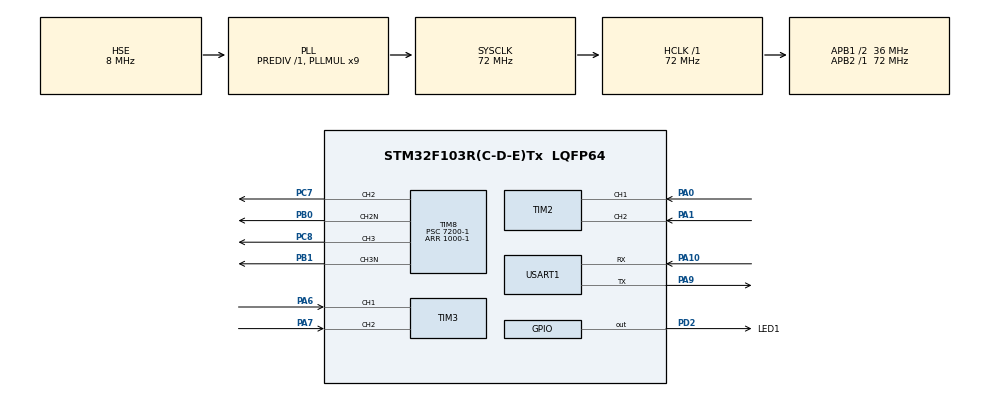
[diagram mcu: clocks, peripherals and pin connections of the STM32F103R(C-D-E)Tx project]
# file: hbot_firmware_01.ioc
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Dma.Request0=USART1_RX
Dma.Request1=USART1_TX
Dma.USART1_RX.0.Direction=DMA_PERIPH_TO_MEMORY
Dma.USART1_RX.0.Instance=DMA1_Channel5
Dma.USART1_RX.0.MemDataAlignment=DMA_MDATAALIGN_BYTE
Dma.USART1_RX.0.MemInc=DMA_MINC_ENABLE
Dma.USART1_RX.0.Mode=DMA_NORMAL
Dma.USART1_RX.0.PeriphDataAlignment=DMA_PDATAALIGN_BYTE
Dma.USART1_RX.0.PeriphInc=DMA_PINC_DISABLE
Dma.USART1_RX.0.Priority=DMA_PRIORITY_LOW
Dma.USART1_TX.1.Direction=DMA_MEMORY_TO_PERIPH
Dma.USART1_TX.1.Instance=DMA1_Channel4
Dma.USART1_TX.1.MemDataAlignment=DMA_MDATAALIGN_BYTE
Dma.USART1_TX.1.MemInc=DMA_MINC_ENABLE
Dma.USART1_TX.1.Mode=DMA_NORMAL
Dma.USART1_TX.1.PeriphDataAlignment=DMA_PDATAALIGN_BYTE
Dma.USART1_TX.1.PeriphInc=DMA_PINC_DISABLE
Dma.USART1_TX.1.Priority=DMA_PRIORITY_LOW
Mcu.Family=STM32F1
Mcu.Name=STM32F103R(C-D-E)Tx
Mcu.Package=LQFP64
NVIC.DMA1_Channel4_IRQn=true\:0\:0\:false\:false\:true\:false\:true\:true
NVIC.DMA1_Channel5_IRQn=true\:0\:0\:false\:false\:true\:false\:true\:true
NVIC.PriorityGroup=NVIC_PRIORITYGROUP_4
NVIC.TIM4_IRQn=true\:0\:0\:false\:false\:true\:true\:true\:true
NVIC.USART1_IRQn=true\:0\:0\:false\:false\:true\:true\:true\:true
PA0-WKUP.Signal=S_TIM2_CH1_ETR
PA1.Signal=S_TIM2_CH2
PA10.Mode=Asynchronous
PA10.Signal=USART1_RX
PA13.Mode=Serial_Wire
PA13.Signal=SYS_JTMS-SWDIO
PA14.Mode=Serial_Wire
PA14.Signal=SYS_JTCK-SWCLK
PA6.Signal=S_TIM3_CH1
PA7.Signal=S_TIM3_CH2
PA9.Mode=Asynchronous
PA9.Signal=USART1_TX
PB0.Mode=PWM Generation2 CH2 CH2N
PB0.Signal=TIM8_CH2N
PB1.Mode=PWM Generation3 CH3 CH3N
PB1.Signal=TIM8_CH3N
PC7.Signal=S_TIM8_CH2
PC8.Signal=S_TIM8_CH3
PD0-OSC_IN.Mode=HSE-External-Oscillator
PD0-OSC_IN.Signal=RCC_OSC_IN
PD1-OSC_OUT.Mode=HSE-External-Oscillator
PD1-OSC_OUT.Signal=RCC_OSC_OUT
PD2.GPIO_Label=LED1
PD2.Signal=GPIO_Output
ProjectManager.HeapSize=0x200
ProjectManager.StackSize=0x400
ProjectManager.TargetToolchain=STM32CubeIDE
RCC.AHBFreq_Value=72000000
RCC.APB1CLKDivider=RCC_HCLK_DIV2
RCC.APB1Freq_Value=36000000
RCC.APB1TimFreq_Value=72000000
RCC.APB2Freq_Value=72000000
RCC.APB2TimFreq_Value=72000000
RCC.HCLKFreq_Value=72000000
RCC.PLLMUL=RCC_PLL_MUL9
RCC.PLLSourceVirtual=RCC_PLLSOURCE_HSE
RCC.SYSCLKFreq_VALUE=72000000
RCC.SYSCLKSource=RCC_SYSCLKSOURCE_PLLCLK
RCC.USBFreq_Value=72000000
SH.S_TIM2_CH1_ETR.0=TIM2_CH1,Encoder_Interface
SH.S_TIM2_CH2.0=TIM2_CH2,Encoder_Interface
SH.S_TIM3_CH1.0=TIM3_CH1,Encoder_Interface
SH.S_TIM3_CH2.0=TIM3_CH2,Encoder_Interface
SH.S_TIM8_CH2.0=TIM8_CH2,PWM Generation2 CH2 CH2N
SH.S_TIM8_CH3.0=TIM8_CH3,PWM Generation3 CH3 CH3N
TIM4.Period=199
TIM4.Prescaler=7200-1
TIM8.Channel-PWM\ Generation2\ CH2\ CH2N=TIM_CHANNEL_2
TIM8.Channel-PWM\ Generation3\ CH3\ CH3N=TIM_CHANNEL_3
TIM8.Period=1000-1
TIM8.Prescaler=7200-1
USART1.VirtualMode=VM_ASYNC
VP_TIM4_VS_ClockSourceINT.Mode=Internal
VP_TIM8_VS_ClockSourceINT.Mode=Internal
board=custom

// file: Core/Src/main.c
/* USER CODE BEGIN Header */
/**
  ******************************************************************************
  * @file           : main.c
  * @brief          : Main program body
  ******************************************************************************
  * @attention
  *
  * Copyright (c) 2022 STMicroelectronics.
  * All rights reserved.
  *
  * This software is licensed under terms that can be found in the LICENSE file
  * in the root directory of this software component.
  * If no LICENSE file comes with this software, it is provided AS-IS.
  *
  ******************************************************************************
  */
/* USER CODE END Header */
#include "main.h"

/* USER CODE BEGIN Includes */
#include "stdio.h"
#include "stdlib.h"
#include "string.h"
/* USER CODE END Includes */

/* USER CODE BEGIN PD */
#define RecBuff_SIZE		15
#define MainBuff_SIZE 		12
#define TranBuff_SIZE		50

/* USER CODE END PD */

 TIM_HandleTypeDef htim2;
TIM_HandleTypeDef htim3;
TIM_HandleTypeDef htim4;
TIM_HandleTypeDef htim8;

UART_HandleTypeDef huart1;
DMA_HandleTypeDef hdma_usart1_rx;
DMA_HandleTypeDef hdma_usart1_tx;

/* USER CODE BEGIN PV */
uint8_t RecBuff[RecBuff_SIZE];
uint8_t MainBuff[MainBuff_SIZE];
uint8_t TranBuff[TranBuff_SIZE];
size_t recSize;

int16_t velLeft;
int16_t velRight;

uint32_t enc_pulse1 = 0, enc_pulse2 = 0;
int64_t last_pulse1=0, last_pulse2=0;
uint32_t tran_cnt = 0, rec_cnt = 0;
float real_rpm1=0, real_rpm2 =0;

int32_t kp, ki, kd; // kx * 1000
Status_Code status_code_;

uint16_t pwmLeft = 0;
uint16_t pwmRight = 0;
/* USER CODE END PV */

void SystemClock_Config(void);
static void MX_GPIO_Init(void);
static void MX_TIM2_Init(void);
static void MX_TIM3_Init(void);
static void MX_DMA_Init(void);
static void MX_USART1_UART_Init(void);
static void MX_TIM8_Init(void);
static void MX_TIM4_Init(void);
/* USER CODE BEGIN PFP */
//void RxRx
void HAL_UARTEx_RxEventCallback(UART_HandleTypeDef *huart, uint16_t Size);
void processRecCmd(size_t len);
void setRpm(int16_t left, int16_t right);
/* USER CODE END PFP */

/* USER CODE BEGIN 0 */
void HAL_UARTEx_RxEventCallback(UART_HandleTypeDef *huart, uint16_t Size) {
  if(huart->Instance == USART1){
	for(size_t i = 0; i<Size-1; i++) {
		if(RecBuff[i] == 0x2A){
			memcpy(MainBuff, &RecBuff[i], Size-i);
			processRecCmd(Size-i);
			break;
		}
	}

	HAL_UARTEx_ReceiveToIdle_DMA(&huart1, RecBuff, RecBuff_SIZE);
	  __HAL_DMA_DISABLE_IT(&hdma_usart1_rx, DMA_IT_HT);
  }

}

void processRecCmd(size_t len){
	if(MainBuff[0] != 0x2A || MainBuff[len-1] != 0x3E || MainBuff[1] != len){
		status_code_ = STATUS_CMD_FORMAT_WRONG;
		responseCmd(CMD_STATUS);
		return;
	}

	uint8_t cmd_count_index = 2;
	uint32_t curr_rec_count = (uint32_t)MainBuff[cmd_count_index]   << 24
							| (uint32_t)MainBuff[cmd_count_index+1] << 16
							| (uint32_t)MainBuff[cmd_count_index+2] << 8
							| MainBuff[cmd_count_index+3];
	if(curr_rec_count == rec_cnt) return;
	rec_cnt = curr_rec_count;
	uint8_t cmd_type_index = cmd_count_index + 4;
	uint8_t cmd_type = MainBuff[cmd_type_index];
	uint8_t params_index = cmd_type_index + 1;
	switch (cmd_type) {
		case 0x50: // Set rpm
			velLeft = (int)MainBuff[params_index] << 8 | MainBuff[params_index+1];
			velRight = (int)MainBuff[params_index+2] << 8 | MainBuff[params_index+3];
		  setRpm(velLeft, velRight);
		  responseCmd(CMD_SET_VEL);
		  break;
		case 0x55: // Set Kp
		  // memcpy(&kp, &MainBuff[params_index], 4);
      kp = MainBuff[params_index]   << 24
          | MainBuff[params_index+1] << 16
          | MainBuff[params_index+2] << 8
          | MainBuff[params_index+3];
		  responseCmd(CMD_SET_PID_KP);
		  break;
		case 0x56: // Set Kp
		  // memcpy(&ki, &MainBuff[params_index], 4);
      ki = MainBuff[params_index]   << 24
          | MainBuff[params_index+1] << 16
          | MainBuff[params_index+2] << 8
          | MainBuff[params_index+3];
		  responseCmd(CMD_SET_PID_KI);
		  break;
		case 0x57: // Set Kp
		  // memcpy(&kd, &MainBuff[params_index], 4);
      kd = MainBuff[params_index]   << 24
          | MainBuff[params_index+1] << 16
          | MainBuff[params_index+2] << 8
          | MainBuff[params_index+3];
		  responseCmd(CMD_SET_PID_KD);
		  break;
		default:
		  break;
	}
}

/* USER CODE END 0 */

int main(void)
{

  /* MCU Configuration--------------------------------------------------------*/

  /* Reset of all peripherals, Initializes the Flash interface and the Systick. */
  HAL_Init();

  /* Configure the system clock */
  SystemClock_Config();

  /* Initialize all configured peripherals */
  MX_GPIO_Init();
  MX_TIM2_Init();
  MX_TIM3_Init();
  MX_DMA_Init();
  MX_USART1_UART_Init();
  MX_TIM8_Init();
  MX_TIM4_Init();
  /* USER CODE BEGIN 2 */
  HAL_UARTEx_ReceiveToIdle_DMA(&huart1, RecBuff, RecBuff_SIZE);
  __HAL_DMA_DISABLE_IT(&hdma_usart1_rx, DMA_IT_HT);

  HAL_TIM_Base_Start_IT(&htim4);
  HAL_TIM_Encoder_Start(&htim2, TIM_CHANNEL_ALL);
  HAL_TIM_Encoder_Start(&htim3, TIM_CHANNEL_ALL);
  /* USER CODE END 2 */

  /* Infinite loop */
  while (1)
  {

  }
}

void SystemClock_Config(void)
{
  RCC_OscInitTypeDef RCC_OscInitStruct = {0};
  RCC_ClkInitTypeDef RCC_ClkInitStruct = {0};

  /** Initializes the RCC Oscillators according to the specified parameters
  * in the RCC_OscInitTypeDef structure.
  */
  RCC_OscInitStruct.OscillatorType = RCC_OSCILLATORTYPE_HSE;
  RCC_OscInitStruct.HSEState = RCC_HSE_ON;
  RCC_OscInitStruct.HSEPredivValue = RCC_HSE_PREDIV_DIV1;
  RCC_OscInitStruct.HSIState = RCC_HSI_ON;
  RCC_OscInitStruct.PLL.PLLState = RCC_PLL_ON;
  RCC_OscInitStruct.PLL.PLLSource = RCC_PLLSOURCE_HSE;
  RCC_OscInitStruct.PLL.PLLMUL = RCC_PLL_MUL9;
  if (HAL_RCC_OscConfig(&RCC_OscInitStruct) != HAL_OK)
  {
    Error_Handler();
  }

  /** Initializes the CPU, AHB and APB buses clocks
  */
  RCC_ClkInitStruct.ClockType = RCC_CLOCKTYPE_HCLK|RCC_CLOCKTYPE_SYSCLK
                              |RCC_CLOCKTYPE_PCLK1|RCC_CLOCKTYPE_PCLK2;
  RCC_ClkInitStruct.SYSCLKSource = RCC_SYSCLKSOURCE_PLLCLK;
  RCC_ClkInitStruct.AHBCLKDivider = RCC_SYSCLK_DIV1;
  RCC_ClkInitStruct.APB1CLKDivider = RCC_HCLK_DIV2;
  RCC_ClkInitStruct.APB2CLKDivider = RCC_HCLK_DIV1;

  if (HAL_RCC_ClockConfig(&RCC_ClkInitStruct, FLASH_LATENCY_2) != HAL_OK)
  {
    Error_Handler();
  }
}

static void MX_TIM2_Init(void)
{

  TIM_Encoder_InitTypeDef sConfig = {0};
  TIM_MasterConfigTypeDef sMasterConfig = {0};

  htim2.Instance = TIM2;
  htim2.Init.Prescaler = 0;
  htim2.Init.CounterMode = TIM_COUNTERMODE_UP;
  htim2.Init.Period = 65535;
  htim2.Init.ClockDivision = TIM_CLOCKDIVISION_DIV1;
  htim2.Init.AutoReloadPreload = TIM_AUTORELOAD_PRELOAD_DISABLE;
  sConfig.EncoderMode = TIM_ENCODERMODE_TI1;
  sConfig.IC1Polarity = TIM_ICPOLARITY_RISING;
  sConfig.IC1Selection = TIM_ICSELECTION_DIRECTTI;
  sConfig.IC1Prescaler = TIM_ICPSC_DIV1;
  sConfig.IC1Filter = 0;
  sConfig.IC2Polarity = TIM_ICPOLARITY_RISING;
  sConfig.IC2Selection = TIM_ICSELECTION_DIRECTTI;
  sConfig.IC2Prescaler = TIM_ICPSC_DIV1;
  sConfig.IC2Filter = 0;
  if (HAL_TIM_Encoder_Init(&htim2, &sConfig) != HAL_OK)
  {
    Error_Handler();
  }
  sMasterConfig.MasterOutputTrigger = TIM_TRGO_RESET;
  sMasterConfig.MasterSlaveMode = TIM_MASTERSLAVEMODE_DISABLE;
  if (HAL_TIMEx_MasterConfigSynchronization(&htim2, &sMasterConfig) != HAL_OK)
  {
    Error_Handler();
  }

}

static void MX_TIM3_Init(void)
{

  TIM_Encoder_InitTypeDef sConfig = {0};
  TIM_MasterConfigTypeDef sMasterConfig = {0};

  htim3.Instance = TIM3;
  htim3.Init.Prescaler = 0;
  htim3.Init.CounterMode = TIM_COUNTERMODE_UP;
  htim3.Init.Period = 65535;
  htim3.Init.ClockDivision = TIM_CLOCKDIVISION_DIV1;
  htim3.Init.AutoReloadPreload = TIM_AUTORELOAD_PRELOAD_DISABLE;
  sConfig.EncoderMode = TIM_ENCODERMODE_TI1;
  sConfig.IC1Polarity = TIM_ICPOLARITY_RISING;
  sConfig.IC1Selection = TIM_ICSELECTION_DIRECTTI;
  sConfig.IC1Prescaler = TIM_ICPSC_DIV1;
  sConfig.IC1Filter = 0;
  sConfig.IC2Polarity = TIM_ICPOLARITY_RISING;
  sConfig.IC2Selection = TIM_ICSELECTION_DIRECTTI;
  sConfig.IC2Prescaler = TIM_ICPSC_DIV1;
  sConfig.IC2Filter = 0;
  if (HAL_TIM_Encoder_Init(&htim3, &sConfig) != HAL_OK)
  {
    Error_Handler();
  }
  sMasterConfig.MasterOutputTrigger = TIM_TRGO_RESET;
  sMasterConfig.MasterSlaveMode = TIM_MASTERSLAVEMODE_DISABLE;
  if (HAL_TIMEx_MasterConfigSynchronization(&htim3, &sMasterConfig) != HAL_OK)
  {
    Error_Handler();
  }

}

static void MX_TIM4_Init(void)
{

  TIM_ClockConfigTypeDef sClockSourceConfig = {0};
  TIM_MasterConfigTypeDef sMasterConfig = {0};

  htim4.Instance = TIM4;
  htim4.Init.Prescaler = 7200-1;
  htim4.Init.CounterMode = TIM_COUNTERMODE_UP;
  htim4.Init.Period = 199;
  htim4.Init.ClockDivision = TIM_CLOCKDIVISION_DIV1;
  htim4.Init.AutoReloadPreload = TIM_AUTORELOAD_PRELOAD_DISABLE;
  if (HAL_TIM_Base_Init(&htim4) != HAL_OK)
  {
    Error_Handler();
  }
  sClockSourceConfig.ClockSource = TIM_CLOCKSOURCE_INTERNAL;
  if (HAL_TIM_ConfigClockSource(&htim4, &sClockSourceConfig) != HAL_OK)
  {
    Error_Handler();
  }
  sMasterConfig.MasterOutputTrigger = TIM_TRGO_RESET;
  sMasterConfig.MasterSlaveMode = TIM_MASTERSLAVEMODE_DISABLE;
  if (HAL_TIMEx_MasterConfigSynchronization(&htim4, &sMasterConfig) != HAL_OK)
  {
    Error_Handler();
  }

}

static void MX_TIM8_Init(void)
{

  TIM_ClockConfigTypeDef sClockSourceConfig = {0};
  TIM_MasterConfigTypeDef sMasterConfig = {0};
  TIM_OC_InitTypeDef sConfigOC = {0};
  TIM_BreakDeadTimeConfigTypeDef sBreakDeadTimeConfig = {0};

  htim8.Instance = TIM8;
  htim8.Init.Prescaler = 7200-1;
  htim8.Init.CounterMode = TIM_COUNTERMODE_UP;
  htim8.Init.Period = 1000-1;
  htim8.Init.ClockDivision = TIM_CLOCKDIVISION_DIV1;
  htim8.Init.RepetitionCounter = 0;
  htim8.Init.AutoReloadPreload = TIM_AUTORELOAD_PRELOAD_DISABLE;
  if (HAL_TIM_Base_Init(&htim8) != HAL_OK)
  {
    Error_Handler();
  }
  sClockSourceConfig.ClockSource = TIM_CLOCKSOURCE_INTERNAL;
  if (HAL_TIM_ConfigClockSource(&htim8, &sClockSourceConfig) != HAL_OK)
  {
    Error_Handler();
  }
  if (HAL_TIM_PWM_Init(&htim8) != HAL_OK)
  {
    Error_Handler();
  }
  sMasterConfig.MasterOutputTrigger = TIM_TRGO_RESET;
  sMasterConfig.MasterSlaveMode = TIM_MASTERSLAVEMODE_DISABLE;
  if (HAL_TIMEx_MasterConfigSynchronization(&htim8, &sMasterConfig) != HAL_OK)
  {
    Error_Handler();
  }
  sConfigOC.OCMode = TIM_OCMODE_PWM1;
  sConfigOC.Pulse = 0;
  sConfigOC.OCPolarity = TIM_OCPOLARITY_HIGH;
  sConfigOC.OCNPolarity = TIM_OCNPOLARITY_HIGH;
  sConfigOC.OCFastMode = TIM_OCFAST_DISABLE;
  sConfigOC.OCIdleState = TIM_OCIDLESTATE_RESET;
  sConfigOC.OCNIdleState = TIM_OCNIDLESTATE_RESET;
  if (HAL_TIM_PWM_ConfigChannel(&htim8, &sConfigOC, TIM_CHANNEL_2) != HAL_OK)
  {
    Error_Handler();
  }
  if (HAL_TIM_PWM_ConfigChannel(&htim8, &sConfigOC, TIM_CHANNEL_3) != HAL_OK)
  {
    Error_Handler();
  }
  sBreakDeadTimeConfig.OffStateRunMode = TIM_OSSR_DISABLE;
  sBreakDeadTimeConfig.OffStateIDLEMode = TIM_OSSI_DISABLE;
  sBreakDeadTimeConfig.LockLevel = TIM_LOCKLEVEL_OFF;
  sBreakDeadTimeConfig.DeadTime = 0;
  sBreakDeadTimeConfig.BreakState = TIM_BREAK_DISABLE;
  sBreakDeadTimeConfig.BreakPolarity = TIM_BREAKPOLARITY_HIGH;
  sBreakDeadTimeConfig.AutomaticOutput = TIM_AUTOMATICOUTPUT_DISABLE;
  if (HAL_TIMEx_ConfigBreakDeadTime(&htim8, &sBreakDeadTimeConfig) != HAL_OK)
  {
    Error_Handler();
  }
  HAL_TIM_MspPostInit(&htim8);

}

static void MX_USART1_UART_Init(void)
{

  huart1.Instance = USART1;
  huart1.Init.BaudRate = 115200;
  huart1.Init.WordLength = UART_WORDLENGTH_8B;
  huart1.Init.StopBits = UART_STOPBITS_1;
  huart1.Init.Parity = UART_PARITY_NONE;
  huart1.Init.Mode = UART_MODE_TX_RX;
  huart1.Init.HwFlowCtl = UART_HWCONTROL_NONE;
  huart1.Init.OverSampling = UART_OVERSAMPLING_16;
  if (HAL_UART_Init(&huart1) != HAL_OK)
  {
    Error_Handler();
  }

}

static void MX_DMA_Init(void)
{

  /* DMA controller clock enable */
  __HAL_RCC_DMA1_CLK_ENABLE();

  /* DMA interrupt init */
  /* DMA1_Channel4_IRQn interrupt configuration */
  HAL_NVIC_SetPriority(DMA1_Channel4_IRQn, 0, 0);
  HAL_NVIC_EnableIRQ(DMA1_Channel4_IRQn);
  /* DMA1_Channel5_IRQn interrupt configuration */
  HAL_NVIC_SetPriority(DMA1_Channel5_IRQn, 0, 0);
  HAL_NVIC_EnableIRQ(DMA1_Channel5_IRQn);

}

static void MX_GPIO_Init(void)
{
  GPIO_InitTypeDef GPIO_InitStruct = {0};

  /* GPIO Ports Clock Enable */
  __HAL_RCC_GPIOD_CLK_ENABLE();
  __HAL_RCC_GPIOA_CLK_ENABLE();
  __HAL_RCC_GPIOB_CLK_ENABLE();
  __HAL_RCC_GPIOC_CLK_ENABLE();

  /*Configure GPIO pin Output Level */
  HAL_GPIO_WritePin(LED1_GPIO_Port, LED1_Pin, GPIO_PIN_RESET);

  /*Configure GPIO pin : LED1_Pin */
  GPIO_InitStruct.Pin = LED1_Pin;
  GPIO_InitStruct.Mode = GPIO_MODE_OUTPUT_PP;
  GPIO_InitStruct.Pull = GPIO_NOPULL;
  GPIO_InitStruct.Speed = GPIO_SPEED_FREQ_LOW;
  HAL_GPIO_Init(LED1_GPIO_Port, &GPIO_InitStruct);

}

/* USER CODE BEGIN 4 */
/*
void HAL_UART_RxCpltCallback(UART_HandleTypeDef *huart)
{
	__NOP();
	HAL_GPIO_TogglePin(LED1_GPIO_Port, LED1_Pin);

  if (uart_rec_stage_ == WAITING_START){ //Process header
    if(dataRec[0] != 0x2A) {
      // Read until face start byte
      HAL_UART_Receive_DMA(&huart1, dataRec, 1);
    }
    else {
      uart_rec_stage_ = WAITING_HEADER;
      HAL_UART_Receive_DMA(&huart1, dataRec, UART_HEADER_SIZE-1);
    }
    return;
  }

  if (uart_rec_stage_ == WAITING_HEADER){
    u_int8_t cmd_count_index = 0;
    uint32_t curr_rec_count = (uint32_t)dataRec[cmd_count_index]   << 24
                            | (uint32_t)dataRec[cmd_count_index+1] << 16
                            | (uint32_t)dataRec[cmd_count_index+2] << 8
                            | dataRec[cmd_count_index+3];
    if(curr_rec_count == rec_cnt) return;
    rec_cnt = curr_rec_count;
    u_int8_t cmdLen = dataRec[cmd_count_index + 4];
    HAL_UART_Receive_DMA(&huart1, dataRec, cmdLen - UART_HEADER_SIZE);
  }

  if (uart_rec_stage_ == WAITING_MSG) {
    handleMessage();
    uart_rec_stage_ = WAITING_START;
    HAL_UART_Receive_DMA(&huart1, dataRec, 1);
  }

	// Feedback cmd

//	char msg[30];
//	sprintf(msg, "velL: %i, velR: %i\n", velLeft, velRight);
//
//	HAL_UART_Transmit_DMA(&huart1, (uint8_t*)msg, strlen(msg));
}

void handleMessage(){
	u_int8_t cmd	= dataRec[0];
	uint8_t params_index = 1;
	switch (cmd) {
		case 0x50: // Set rpm
			velLeft = (int)dataRec[params_index] << 8 | dataRec[params_index+1];
			velRight = (int)dataRec[params_index+2] << 8 | dataRec[params_index+3];
      setRpm(velLeft, velRight);
      responseCmd(CMD_SET_VEL);
      break;
    case 0x55: // Set Kp
      memcpy(&kp, &dataRec[params_index], 4);
      responseCmd(CMD_SET_PID_KP);
			break;
    case 0x56: // Set Kp
      memcpy(&ki, &dataRec[params_index], 4);
      responseCmd(CMD_SET_PID_KI);
			break;
    case 0x57: // Set Kp
      memcpy(&kd, &dataRec[params_index], 4);
      responseCmd(CMD_SET_PID_KD);
			break;
		default:
			break;
	}
}
*/
void setRpm(int16_t velLeft, int16_t velRight) {

  pwmLeft = abs((int16_t)(velLeft*1000/37));
  pwmRight = abs((int16_t)(velRight*1000/37));
  pwmLeft = (pwmLeft > 1000) ? 1000 : pwmLeft;
  pwmRight = (pwmRight> 1000) ? 1000 : pwmRight;
  if(velLeft > 0){
    HAL_TIMEx_PWMN_Stop(&htim8, TIM_CHANNEL_2);
    HAL_TIM_PWM_Start(&htim8, TIM_CHANNEL_2);
    __HAL_TIM_SET_COMPARE(&htim8, TIM_CHANNEL_2, pwmLeft);
  }
  else if (velLeft < 0) {
    HAL_TIM_PWM_Stop(&htim8, TIM_CHANNEL_2);
    HAL_TIMEx_PWMN_Start(&htim8, TIM_CHANNEL_2);
    __HAL_TIM_SET_COMPARE(&htim8, TIM_CHANNEL_2, pwmLeft);
  }
  else {
    HAL_TIM_PWM_Stop(&htim8, TIM_CHANNEL_2);
    HAL_TIMEx_PWMN_Stop(&htim8, TIM_CHANNEL_2);
  }

  if(velRight < 0){
    HAL_TIMEx_PWMN_Stop(&htim8, TIM_CHANNEL_3);
    HAL_TIM_PWM_Start(&htim8, TIM_CHANNEL_3);
    __HAL_TIM_SET_COMPARE(&htim8, TIM_CHANNEL_3, pwmRight);
  }
  else if (velRight > 0){
    HAL_TIM_PWM_Stop(&htim8, TIM_CHANNEL_3);
    HAL_TIMEx_PWMN_Start(&htim8, TIM_CHANNEL_3);
    __HAL_TIM_SET_COMPARE(&htim8, TIM_CHANNEL_3, pwmRight);
  }
  else {
    HAL_TIM_PWM_Stop(&htim8, TIM_CHANNEL_3);
    HAL_TIMEx_PWMN_Stop(&htim8, TIM_CHANNEL_3);
  }
	HAL_GPIO_TogglePin(LED1_GPIO_Port, LED1_Pin);
}

void responseCmd(CMD_Type cmd_type) {
  memset(TranBuff, 0, TranBuff_SIZE);
  TranBuff[0] = 0x2B;
  uint8_t msg_length_index = 1;
  tran_cnt++;
  uint8_t cnt_index = 2;
  TranBuff[cnt_index] = tran_cnt >> 24;
  TranBuff[cnt_index + 1] = tran_cnt >> 16;
  TranBuff[cnt_index + 2] = tran_cnt >> 8;
  TranBuff[cnt_index + 3] = tran_cnt;
  uint8_t cmd_type_index = cnt_index + 4;
  uint8_t msg_index = cmd_type_index + 1;
  TranBuff[cmd_type_index] = cmd_type;
  uint8_t msg_length = 0;
  switch (cmd_type)
  {
  case CMD_FB_VEL:
    msg_length = (uint8_t)12;
    TranBuff[msg_length_index] = msg_length;
    TranBuff[msg_index] = (int16_t)(real_rpm1*1000) >> 8;
    TranBuff[msg_index+1] = (int16_t)(real_rpm1*1000);
    TranBuff[msg_index+2] = (int16_t)(real_rpm2*1000) >> 8;
    TranBuff[msg_index+3] = (int16_t)(real_rpm2*1000);
    break;
  case CMD_SET_VEL:
    msg_length = (uint8_t)12;
    TranBuff[msg_length_index] = msg_length;
    TranBuff[msg_index] = velLeft >> 8;
    TranBuff[msg_index+1] = velLeft;
    TranBuff[msg_index+2] = velRight >> 8;
    TranBuff[msg_index+3] = velRight;
    break;
  case CMD_SET_PID_KP:
    msg_length = (uint8_t)12;
    TranBuff[msg_length_index] = msg_length;
    TranBuff[msg_index] = kp >> 24;
    TranBuff[msg_index+1] = kp >> 16;
    TranBuff[msg_index+2] = kp >> 8;
    TranBuff[msg_index+3] = kp;
    break;
  case CMD_SET_PID_KI:
    msg_length = (uint8_t)12;
    TranBuff[msg_length_index] = msg_length;
    TranBuff[msg_index] = ki >> 24;
    TranBuff[msg_index+1] = ki >> 16;
    TranBuff[msg_index+2] = ki >> 8;
    TranBuff[msg_index+3] = ki;
    break;
  case CMD_SET_PID_KD:
    msg_length = (uint8_t)12;
    TranBuff[msg_length_index] = msg_length;
    TranBuff[msg_index] = kd >> 24;
    TranBuff[msg_index+1] = kd >> 16;
    TranBuff[msg_index+2] = kd >> 8;
    TranBuff[msg_index+3] = kd;
    break;
  case CMD_STATUS:
	msg_length = (uint8_t)9;
	TranBuff[msg_length_index] = msg_length;
	TranBuff[msg_index] = status_code_;
    break;
  default:
    break;
  }
  TranBuff[msg_length-1] = 0x3F;
  HAL_UART_Transmit_DMA(&huart1, TranBuff, msg_length);
}
/* USER CODE END 4 */

void Error_Handler(void)
{
  __disable_irq();
  while (1)
  {
  }
}
